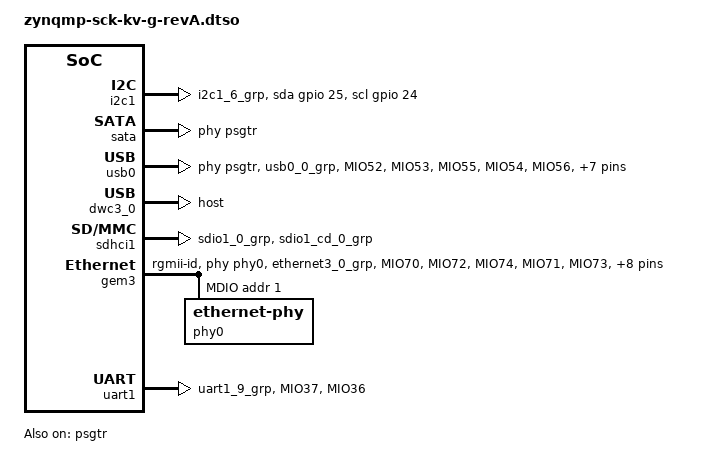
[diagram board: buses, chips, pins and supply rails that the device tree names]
// SPDX-License-Identifier: GPL-2.0
/*
 * dts file for KV260 revA Carrier Card
 *
 * (C) Copyright 2020 - 2021, Xilinx, Inc.
 *
 * SD level shifter:
 * "A" – A01 board un-modified (NXP)
 * "Y" – A01 board modified with legacy interposer (Nexperia)
 * "Z" – A01 board modified with Diode interposer
 *
 * Michal Simek <michal.simek@xilinx.com>
 */

#include <dt-bindings/gpio/gpio.h>
#include <dt-bindings/net/ti-dp83867.h>
#include <dt-bindings/phy/phy.h>
#include <dt-bindings/pinctrl/pinctrl-zynqmp.h>

/dts-v1/;
/plugin/;

&i2c1 { /* I2C_SCK C23/C24 - MIO from SOM */
	#address-cells = <1>;
	#size-cells = <0>;
	pinctrl-names = "default", "gpio";
	pinctrl-0 = <&pinctrl_i2c1_default>;
	pinctrl-1 = <&pinctrl_i2c1_gpio>;
	scl-gpios = <&gpio 24 GPIO_ACTIVE_HIGH>;
	sda-gpios = <&gpio 25 GPIO_ACTIVE_HIGH>;

	/* u14 - 0x40 - ina260 */
	/* u27 - 0xe0 - STDP4320 DP/HDMI splitter */
};

&amba {
	si5332_0: si5332_0 { /* u17 */
		compatible = "fixed-clock";
		#clock-cells = <0>;
		clock-frequency = <125000000>;
	};

	si5332_1: si5332_1 { /* u17 */
		compatible = "fixed-clock";
		#clock-cells = <0>;
		clock-frequency = <25000000>;
	};

	si5332_2: si5332_2 { /* u17 */
		compatible = "fixed-clock";
		#clock-cells = <0>;
		clock-frequency = <48000000>;
	};

	si5332_3: si5332_3 { /* u17 */
		compatible = "fixed-clock";
		#clock-cells = <0>;
		clock-frequency = <24000000>;
	};

	si5332_4: si5332_4 { /* u17 */
		compatible = "fixed-clock";
		#clock-cells = <0>;
		clock-frequency = <26000000>;
	};

	si5332_5: si5332_5 { /* u17 */
		compatible = "fixed-clock";
		#clock-cells = <0>;
		clock-frequency = <27000000>;
	};
};

/* DP/USB 3.0 and SATA */
&psgtr {
	status = "okay";
	/* pcie, usb3, sata */
	clocks = <&si5332_5>, <&si5332_4>, <&si5332_0>;
	clock-names = "ref0", "ref1", "ref2";
};

&sata {
	status = "okay";
	/* SATA OOB timing settings */
	ceva,p0-cominit-params = /bits/ 8 <0x18 0x40 0x18 0x28>;
	ceva,p0-comwake-params = /bits/ 8 <0x06 0x14 0x08 0x0E>;
	ceva,p0-burst-params = /bits/ 8 <0x13 0x08 0x4A 0x06>;
	ceva,p0-retry-params = /bits/ 16 <0x96A4 0x3FFC>;
	ceva,p1-cominit-params = /bits/ 8 <0x18 0x40 0x18 0x28>;
	ceva,p1-comwake-params = /bits/ 8 <0x06 0x14 0x08 0x0E>;
	ceva,p1-burst-params = /bits/ 8 <0x13 0x08 0x4A 0x06>;
	ceva,p1-retry-params = /bits/ 16 <0x96A4 0x3FFC>;
	phy-names = "sata-phy";
	phys = <&psgtr 3 PHY_TYPE_SATA 1 2>;
};

&zynqmp_dpsub {
	status = "disabled";
	phy-names = "dp-phy0", "dp-phy1";
	phys = <&psgtr 1 PHY_TYPE_DP 0 0>, <&psgtr 0 PHY_TYPE_DP 1 0>;
};

&zynqmp_dpdma {
	status = "okay";
};

&usb0 {
	status = "okay";
	pinctrl-names = "default";
	pinctrl-0 = <&pinctrl_usb0_default>;
	phy-names = "usb3-phy";
	phys = <&psgtr 2 PHY_TYPE_USB3 0 1>;
	/* missing usb5744 - u43 */
};

&dwc3_0 {
	status = "okay";
	dr_mode = "host";
	snps,usb3_lpm_capable;
	maximum-speed = "super-speed";
};

&sdhci1 { /* on CC with tuned parameters */
	status = "okay";
	pinctrl-names = "default";
	pinctrl-0 = <&pinctrl_sdhci1_default>;
	/*
	 * SD 3.0 requires level shifter and this property
	 * should be removed if the board has level shifter and
	 * need to work in UHS mode
	 */
	no-1-8-v;
	disable-wp;
	xlnx,mio-bank = <1>;
};

&gem3 { /* required by spec */
	status = "okay";
	pinctrl-names = "default";
	pinctrl-0 = <&pinctrl_gem3_default>;
	phy-handle = <&phy0>;
	phy-mode = "rgmii-id";

	mdio: mdio {
		#address-cells = <1>;
		#size-cells = <0>;
		reset-gpios = <&gpio 38 GPIO_ACTIVE_LOW>;
		reset-delay-us = <2>;

		phy0: ethernet-phy@1 {
			#phy-cells = <1>;
			reg = <1>;
			ti,rx-internal-delay = <DP83867_RGMIIDCTL_2_25_NS>;
			ti,tx-internal-delay = <DP83867_RGMIIDCTL_2_75_NS>;
			ti,fifo-depth = <DP83867_PHYCR_FIFO_DEPTH_4_B_NIB>;
			ti,dp83867-rxctrl-strap-quirk;
		};
	};
};

&pinctrl0 { /* required by spec */
	status = "okay";

	pinctrl_uart1_default: uart1-default {
		conf {
			groups = "uart1_9_grp";
			slew-rate = <SLEW_RATE_SLOW>;
			power-source = <IO_STANDARD_LVCMOS18>;
			drive-strength = <12>;
		};

		conf-rx {
			pins = "MIO37";
			bias-high-impedance;
		};

		conf-tx {
			pins = "MIO36";
			bias-disable;
		};

		mux {
			groups = "uart1_9_grp";
			function = "uart1";
		};
	};

	pinctrl_i2c1_default: i2c1-default {
		conf {
			groups = "i2c1_6_grp";
			bias-pull-up;
			slew-rate = <SLEW_RATE_SLOW>;
			power-source = <IO_STANDARD_LVCMOS18>;
		};

		mux {
			groups = "i2c1_6_grp";
			function = "i2c1";
		};
	};

	pinctrl_i2c1_gpio: i2c1-gpio {
		conf {
			groups = "gpio0_24_grp", "gpio0_25_grp";
			slew-rate = <SLEW_RATE_SLOW>;
			power-source = <IO_STANDARD_LVCMOS18>;
		};

		mux {
			groups = "gpio0_24_grp", "gpio0_25_grp";
			function = "gpio0";
		};
	};

	pinctrl_gem3_default: gem3-default {
		conf {
			groups = "ethernet3_0_grp";
			slew-rate = <SLEW_RATE_SLOW>;
			power-source = <IO_STANDARD_LVCMOS18>;
		};

		conf-rx {
			pins = "MIO70", "MIO72", "MIO74";
			bias-high-impedance;
			low-power-disable;
		};

		conf-bootstrap {
			pins = "MIO71", "MIO73", "MIO75";
			bias-disable;
			low-power-disable;
		};

		conf-tx {
			pins = "MIO64", "MIO65", "MIO66",
				"MIO67", "MIO68", "MIO69";
			bias-disable;
			low-power-enable;
		};

		conf-mdio {
			groups = "mdio3_0_grp";
			slew-rate = <SLEW_RATE_SLOW>;
			power-source = <IO_STANDARD_LVCMOS18>;
			bias-disable;
		};

		mux-mdio {
			function = "mdio3";
			groups = "mdio3_0_grp";
		};

		mux {
			function = "ethernet3";
			groups = "ethernet3_0_grp";
		};
	};

	pinctrl_usb0_default: usb0-default {
		conf {
			groups = "usb0_0_grp";
			slew-rate = <SLEW_RATE_SLOW>;
			power-source = <IO_STANDARD_LVCMOS18>;
		};

		conf-rx {
			pins = "MIO52", "MIO53", "MIO55";
			bias-high-impedance;
		};

		conf-tx {
			pins = "MIO54", "MIO56", "MIO57", "MIO58", "MIO59",
			"MIO60", "MIO61", "MIO62", "MIO63";
			bias-disable;
		};

		mux {
			groups = "usb0_0_grp";
			function = "usb0";
		};
	};

	pinctrl_sdhci1_default: sdhci1-default {
		conf {
			groups = "sdio1_0_grp";
			slew-rate = <SLEW_RATE_SLOW>;
			power-source = <IO_STANDARD_LVCMOS18>;
			bias-disable;
		};

		conf-cd {
			groups = "sdio1_cd_0_grp";
			bias-high-impedance;
			bias-pull-up;
			slew-rate = <SLEW_RATE_SLOW>;
			power-source = <IO_STANDARD_LVCMOS18>;
		};

		mux-cd {
			groups = "sdio1_cd_0_grp";
			function = "sdio1_cd";
		};

		mux {
			groups = "sdio1_0_grp";
			function = "sdio1";
		};
	};
};

&uart1 {
	status = "okay";
	pinctrl-names = "default";
	pinctrl-0 = <&pinctrl_uart1_default>;
};
